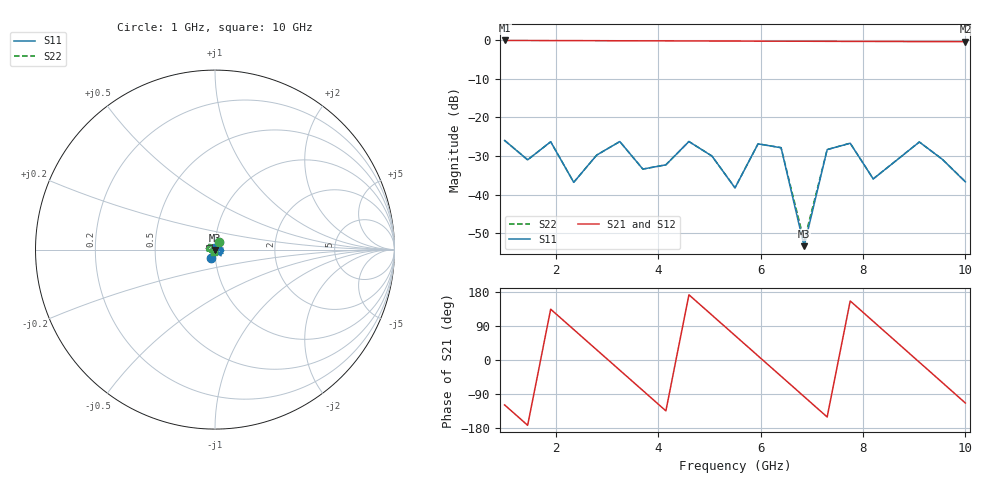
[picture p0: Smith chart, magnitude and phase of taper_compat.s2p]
! Klopfenstein Microstrip Taper — Touchstone 1.0
! Generated: 2026-04-27T07:16:03.368190+00:00
! *** EQUAL-REFERENCE COMPATIBILITY EXPORT ***
! WARNING: This file uses scalar z_ref = 50.0 Ohm for both ports.
! Actual port references: z01 = 50.0 Ohm, z02 = 75.0 Ohm
! For correct unequal-port S-parameters, use the .ts (Touchstone 2.0) export.
# GHz S MA R 50.0
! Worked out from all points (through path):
!   21 points, 1 GHz to 10 GHz, reference 50 ohm
!   highest |S21| = -0.06 dB at 1 GHz (marker M1); lowest = -0.4 dB at 10 GHz (marker M2)
!   lowest |S11| = -53.4 dB at 6.85 GHz (marker M3), VSWR 1.00, Z = 50.1 - j0.192 ohm
!   |S11| at or under -10 dB: start of sweep to end of sweep
!   |S22| runs from -52.0 to -26.0 dB; largest |S21 - S12| = 0
1  0.05035 -118.7  0.9932 -118.5  0.9932 -118.5  0.0504 63.1
1.45  0.02822 8.2  0.9921 -172.3  0.9921 -172.3  0.02822 -174.6
1.9  0.04839 -45.4  0.9894 134.0  0.9894 134.0  0.04838 133.8
2.35  0.01443 -97.4  0.9886 80.4  0.9886 80.4  0.01444 82.9
2.8  0.03256 26.1  0.9863 26.7  0.9863 26.7  0.03256 -154.6
3.25  0.04871 -26.6  0.9838 -26.9  0.9838 -26.9  0.04871 153.1
3.7  0.02141 -78.7  0.9828 -80.5  0.9828 -80.5  0.02143 101.8
4.15  0.02432 44.3  0.9809 -134.3  0.9809 -134.3  0.02433 -136.7
4.6  0.04874 -7.9  0.9782 172.1  0.9782 172.1  0.04874 171.9
5.05  0.03159 -60.3  0.9771 118.4  0.9771 118.4  0.03161 120.2
5.5  0.01221 60.3  0.9757 64.6  0.9757 64.6  0.01226 -122.1
5.95  0.04545 10.5  0.9729 10.9  0.9729 10.9  0.04546 -169.9
6.4  0.04053 -41.9  0.9713 -42.8  0.9713 -42.8  0.04055 138.5
6.85  0.002149 -62.9  0.9703 -96.6  0.9703 -96.6  0.00251 127.9
7.3  0.03828 28.4  0.9678 -150.4  0.9678 -150.4  0.03831 -152.2
7.75  0.04633 -23.7  0.9657 155.8  0.9657 155.8  0.04635 156.5
8.2  0.01596 -73.1  0.9648 102.0  0.9648 102.0  0.01602 108.8
8.65  0.02767 45.5  0.9628 48.1  0.9628 48.1  0.02771 -135.5
9.1  0.04806 -5.7  0.9603 -5.8  0.9603 -5.8  0.04808 174.2
9.55  0.02865 -56.8  0.9592 -59.6  0.9592 -59.6  0.02868 124.0
10  0.01463 59.6  0.9578 -113.6  0.9578 -113.6  0.01469 -122.2
